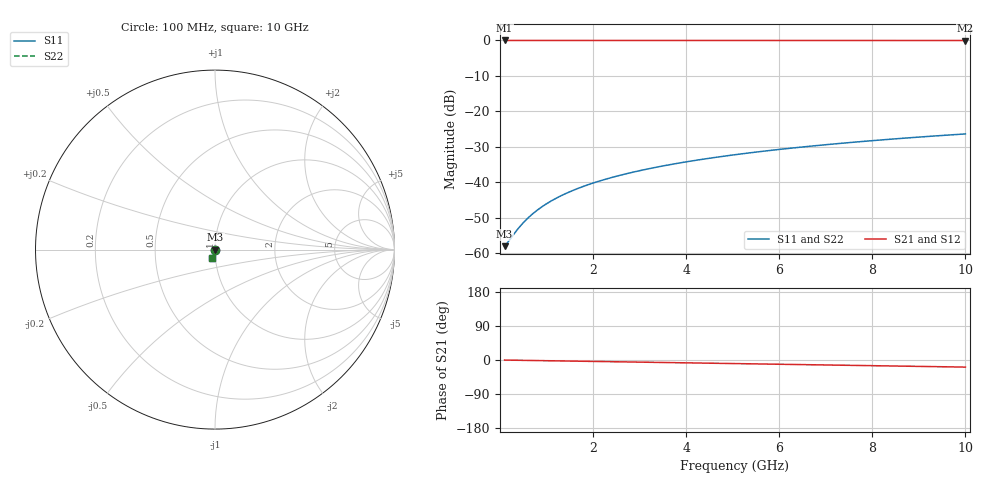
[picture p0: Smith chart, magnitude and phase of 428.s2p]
# Hz S RI R 50.00
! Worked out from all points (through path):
!   100 points, 100 MHz to 10 GHz, reference 50 ohm
!   highest |S21| = -0.01 dB at 100 MHz (marker M1); lowest = 0.0 dB at 10 GHz (marker M2)
!   group delay of S21, straight-line fit = 5.21 ps
!   lowest |S11| = -58.0 dB at 100 MHz (marker M3), VSWR 1.00, Z = 50.1 - j0.0491 ohm
!   |S11| at or under -10 dB: start of sweep to end of sweep
!   |S22| runs from -58.0 to -26.3 dB; largest |S21 - S12| = 0
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1e8  0.00117 -0.000489  0.9988 -0.00325  0.9988 -0.00325  0.00117 -0.000489
2e8  0.00117 -0.000979  0.9988 -0.00651  0.9988 -0.00651  0.00117 -0.000979
3e8  0.00116 -0.00147  0.9988 -0.00976  0.9988 -0.00976  0.00116 -0.00147
4e8  0.00116 -0.00196  0.9987 -0.013  0.9987 -0.013  0.00116 -0.00196
5e8  0.00114 -0.00245  0.9987 -0.0163  0.9987 -0.0163  0.00114 -0.00245
6e8  0.00113 -0.00294  0.9986 -0.0195  0.9986 -0.0195  0.00113 -0.00294
7e8  0.00111 -0.00343  0.9985 -0.0228  0.9985 -0.0228  0.00111 -0.00343
8e8  0.00109 -0.00392  0.9984 -0.026  0.9984 -0.026  0.00109 -0.00392
1e9  0.00103 -0.00489  0.9982 -0.0325  0.9982 -0.0325  0.00103 -0.00489
1.2e9  0.000963 -0.00587  0.998 -0.0391  0.998 -0.0391  0.000963 -0.00587
1.5e9  0.000835 -0.00734  0.9975 -0.0488  0.9975 -0.0488  0.000835 -0.00734
1.8e9  0.000678 -0.0088  0.997 -0.0586  0.997 -0.0586  0.000678 -0.0088
2.1e9  0.000492 -0.0103  0.9963 -0.0683  0.9963 -0.0683  0.000492 -0.0103
2.5e9  0.0002 -0.0122  0.9953 -0.0813  0.9953 -0.0813  0.0002 -0.0122
2.9e9  -0.000144 -0.0141  0.9941 -0.0943  0.9941 -0.0943  -0.000144 -0.0141
3.4e9  -0.000646 -0.0166  0.9924 -0.1105  0.9924 -0.1105  -0.000646 -0.0166
4.2e9  -0.00161 -0.0204  0.9891 -0.1364  0.9891 -0.1364  -0.00161 -0.0204
5.1e9  -0.00294 -0.0246  0.9845 -0.1654  0.9845 -0.1654  -0.00294 -0.0246
5.9e9  -0.00433 -0.0283  0.9797 -0.1911  0.9797 -0.1911  -0.00433 -0.0283
6.7e9  -0.00591 -0.032  0.9742 -0.2167  0.9742 -0.2167  -0.00591 -0.032
8.4e9  -0.0099 -0.0394  0.9603 -0.2706  0.9603 -0.2706  -0.0099 -0.0394
1e10  -0.0144 -0.046  0.9444 -0.3206  0.9444 -0.3206  -0.0144 -0.046
